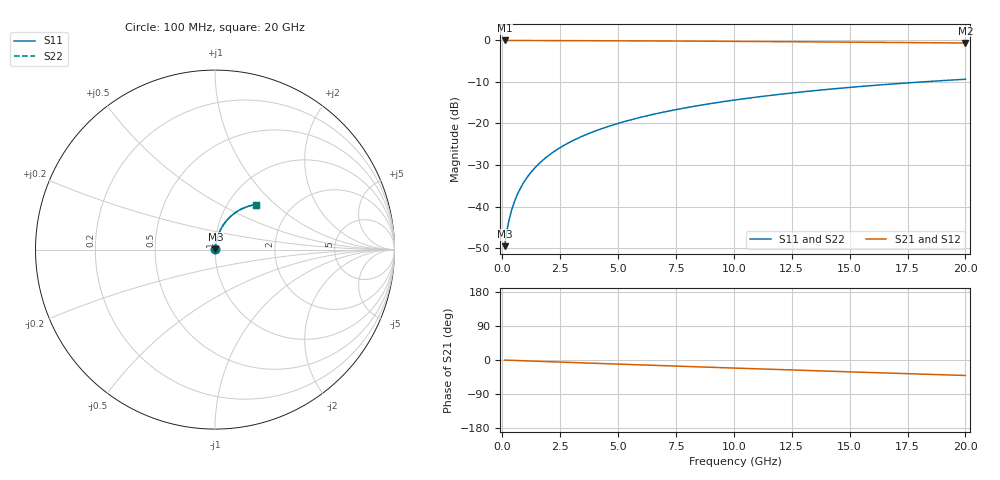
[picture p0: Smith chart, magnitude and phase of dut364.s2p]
! Touchstone file exported from HFSS 2026.1.0
!  File:  C:/ffzhzh/LocalFiles/Ansys_Project_Files/temp_train_TMRDL_364_1783004222_4048.aedt
!  Generated:  10:58:44 PM Jul  2, 2026
!  Design:  TMRDL
!  Project:  temp_train_TMRDL_364_1783004222_4048
! Variables:
!  h_bsmrdl = 2um
!  h_ox = 20um
!  h_rdl = 5um
!  h_sub = 80um
!  h_tmrdl = 4.32um
!  h_tsv = 80um
!  h_via = 3um
!  l_bsmrdl = 300um
!  l_sub = 1018.05um
!  l_tmrdl = 618.05um
!  m_sub = 200um
!  pitch = 45.6um
!  r_tsv = 6um
!  s_tmrdl = 10um
!  w_bsmrdl = 18um
!  w_sub = 500um
!  w_tmrdl = 22.51um
!  x_tsv_center1 = 629.305um
!  x_tsv_center2 = 947.305um
!  x_tsv_center3 = 1587.865um
!  x_tsv_center4 = 1905.865um
!  x_tsv_center5 = 2546.425um
!  x_tsv_center6 = 2864.425um
# GHz S MA R 50.000000
! Terminal data exported
! Port[1] = TM_RDL1_1_T1
! Port[2] = TM_RDL1_1_T2
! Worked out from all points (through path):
!   200 points, 100 MHz to 20 GHz, reference 50 ohm
!   highest |S21| = -0.02 dB at 100 MHz (marker M1); lowest = -0.6 dB at 20 GHz (marker M2)
!   group delay of S21, straight-line fit = 5.67 ps
!   lowest |S11| = -49.5 dB at 100 MHz (marker M3), VSWR 1.01, Z = 50.2 + j0.228 ohm
!   |S11| at or under -10 dB: start of sweep to 18.12 GHz
!   |S22| runs from -49.5 to -9.4 dB; largest |S21 - S12| = 2.7e-15
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0.1  0.003338 42.9  0.9976 -0.2  0.9976 -0.2  0.003338 42.9
! Gamma 0 0 0 0
! Port Impedance 50 0 50 0
0.2  0.005147 59.2  0.9974 -0.5  0.9974 -0.5  0.005147 59.2
0.3  0.007066 66.5  0.9972 -0.7  0.9972 -0.7  0.007067 66.5
0.4  0.00901 70.7  0.9971 -0.9  0.9971 -0.9  0.00901 70.7
0.5  0.01097 73.5  0.997 -1.1  0.997 -1.1  0.01097 73.5
0.6  0.01295 75.4  0.997 -1.3  0.997 -1.3  0.01295 75.4
0.8  0.01695 77.9  0.9968 -1.8  0.9968 -1.8  0.01695 77.9
1.1  0.023 79.7  0.9966 -2.4  0.9966 -2.4  0.023 79.7
1.5  0.0311 80.5  0.9962 -3.3  0.9962 -3.3  0.0311 80.5
1.8  0.03717 80.7  0.9958 -4.0  0.9958 -4.0  0.03717 80.7
2.1  0.04323 80.6  0.9954 -4.6  0.9954 -4.6  0.04323 80.5
2.7  0.05526 79.9  0.9945 -5.9  0.9945 -5.9  0.05526 79.9
3.5  0.07112 78.7  0.9929 -7.6  0.9929 -7.6  0.07112 78.7
4.2  0.0848 77.5  0.9914 -9.1  0.9914 -9.1  0.0848 77.5
5  0.1002 76.0  0.9894 -10.9  0.9894 -10.9  0.1002 76.0
5.9  0.1173 74.2  0.987 -12.8  0.987 -12.8  0.1173 74.2
6.8  0.134 72.5  0.9843 -14.7  0.9843 -14.7  0.134 72.5
8.3  0.1612 69.6  0.9794 -17.8  0.9794 -17.8  0.1612 69.6
10.1  0.1927 66.1  0.973 -21.5  0.973 -21.5  0.1927 66.1
13.4  0.2471 59.7  0.9596 -28.1  0.9596 -28.1  0.2471 59.7
16.7  0.2965 53.5  0.9449 -34.6  0.9449 -34.6  0.2965 53.5
20  0.3407 47.4  0.9296 -40.9  0.9296 -40.9  0.3407 47.4
